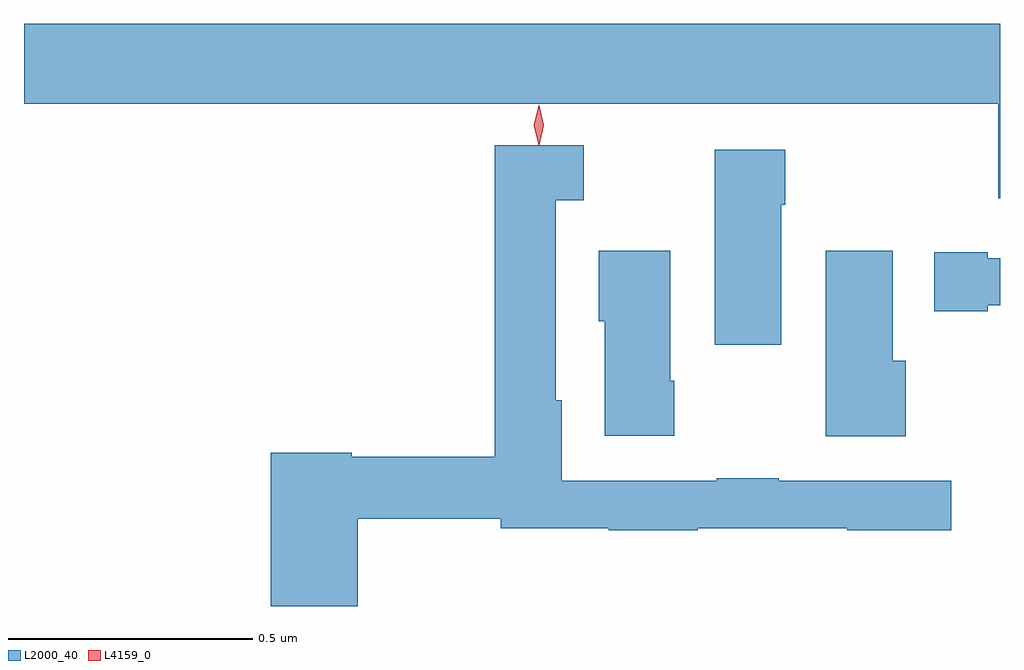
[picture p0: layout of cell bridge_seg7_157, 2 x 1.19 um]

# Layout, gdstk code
import gdstk
lib = gdstk.Library(unit=1e-6, precision=1e-09)
def P(c, l, *ps):  # polygons
    for p in ps: c.add(gdstk.Polygon(p, *l))
L2000_40 = (2000, 40)
L4159_0 = (4159, 0)

bridge_seg7_157 = lib.new_cell('bridge_seg7_157')
P(bridge_seg7_157, L2000_40, [(535.124,1067.38),(533.124,1067.38),(533.124,1067.216),(535.12,1067.216),(535.12,1067.022),(535.124,1067.022)],
  [(533.808,1066.365),(534.101,1066.365),(534.101,1066.346),(534.322,1066.346),(534.322,1066.342),(534.505,1066.342),(534.505,1066.346),(534.811,1066.346),(534.811,1066.342),(535.024,1066.342),(535.024,1066.443),(534.671,1066.443),(534.671,1066.448),(534.544,1066.448),(534.544,1066.443),(534.226,1066.443),(534.226,1066.608),(534.214,1066.608),(534.214,1067.018),(534.271,1067.018),(534.271,1067.131),(534.089,1067.131),(534.089,1066.493),(533.796,1066.493),(533.796,1066.501),(533.63,1066.501),(533.63,1066.186),(533.808,1066.186)],
  [(534.676,1067.009),(534.684,1067.009),(534.684,1067.122),(534.539,1067.122),(534.539,1066.722),(534.676,1066.722)],
  [(534.456,1066.648),(534.448,1066.648),(534.448,1066.915),(534.302,1066.915),(534.302,1066.77),(534.314,1066.77),(534.314,1066.536),(534.456,1066.536)],
  [(534.931,1066.689),(534.904,1066.689),(534.904,1066.915),(534.767,1066.915),(534.767,1066.535),(534.931,1066.535)],
  [(535.099,1066.803),(535.124,1066.803),(535.124,1066.899),(535.099,1066.899),(535.099,1066.912),(534.989,1066.912),(534.989,1066.791),(535.099,1066.791)])
P(bridge_seg7_157, L4159_0, [(534.179,1067.131),(534.179,1067.131),(534.169,1067.172),(534.179,1067.213),(534.179,1067.213),(534.18,1067.213),(534.189,1067.172),(534.18,1067.131)])

lib.write_gds('bridge_seg7_157.gds')
